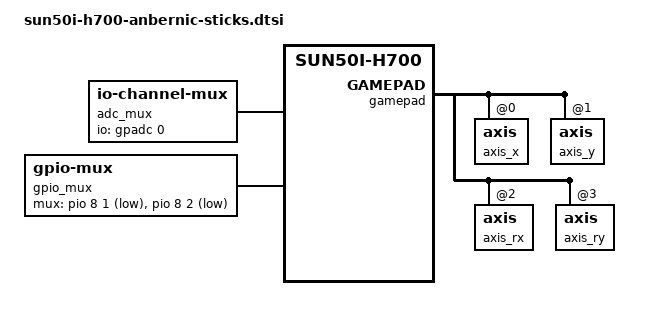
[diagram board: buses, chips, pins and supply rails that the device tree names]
// SPDX-License-Identifier: (GPL-2.0-only OR BSD-2-Clause)
/* Two sticks on the GPADC through a 4-way mux (PI1, PI2), part of the pad */
#include <dt-bindings/input/linux-event-codes.h>

&gamepad {
	io-channels = <&adc_mux 0>, <&adc_mux 1>,
		      <&adc_mux 2>, <&adc_mux 3>;
	pinctrl-0 = <&joy_mux_pin>;
	pinctrl-names = "default";

	axis_x: axis@0 {
		reg = <0>;
		abs-flat = <32>;
		abs-fuzz = <32>;
		abs-range = <4096 0>;
		linux,code = <ABS_X>;
	};

	axis_y: axis@1 {
		reg = <1>;
		abs-flat = <32>;
		abs-fuzz = <32>;
		abs-range = <0 4096>;
		linux,code = <ABS_Y>;
	};

	axis_rx: axis@2 {
		reg = <2>;
		abs-flat = <32>;
		abs-fuzz = <32>;
		abs-range = <0 4096>;
		linux,code = <ABS_RX>;
	};

	axis_ry: axis@3 {
		reg = <3>;
		abs-flat = <32>;
		abs-fuzz = <32>;
		abs-range = <4096 0>;
		linux,code = <ABS_RY>;
	};
};

/ {
	adc_mux: adc-mux {
		compatible = "io-channel-mux";
		channels = "left_x", "left_y", "right_x", "right_y";
		#io-channel-cells = <1>;
		io-channels = <&gpadc 0>;
		io-channel-names = "parent";
		mux-controls = <&gpio_mux>;
		settle-time-us = <100>;
	};

	gpio_mux: mux-controller {
		compatible = "gpio-mux";
		mux-gpios = <&pio 8 1 GPIO_ACTIVE_LOW>,
			    <&pio 8 2 GPIO_ACTIVE_LOW>;
		#mux-control-cells = <0>;
	};
};
